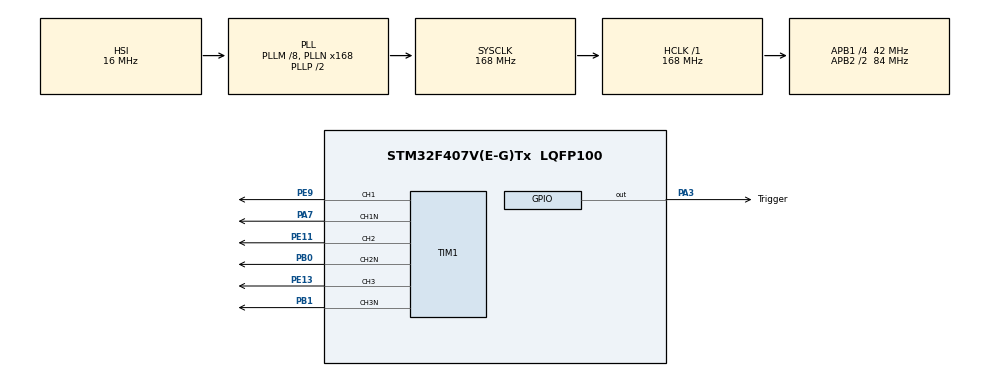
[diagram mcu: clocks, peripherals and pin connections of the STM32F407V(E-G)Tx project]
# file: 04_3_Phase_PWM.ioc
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Mcu.Family=STM32F4
Mcu.Name=STM32F407V(E-G)Tx
Mcu.Package=LQFP100
NVIC.PriorityGroup=NVIC_PRIORITYGROUP_0
NVIC.TIM1_CC_IRQn=true\:0\:2\:false\:false\:true\:true\:true\:true
PA3.GPIO_Label=Trigger
PA3.GPIO_PuPd=GPIO_NOPULL
PA3.GPIO_Speed=GPIO_SPEED_FREQ_MEDIUM
PA3.PinState=GPIO_PIN_RESET
PA3.Signal=GPIO_Output
PA7.Mode=PWM Generation1 CH1 CH1N
PA7.Signal=TIM1_CH1N
PB0.Mode=PWM Generation2 CH2 CH2N
PB0.Signal=TIM1_CH2N
PB1.Mode=PWM Generation3 CH3 CH3N
PB1.Signal=TIM1_CH3N
PE11.Signal=S_TIM1_CH2
PE13.Signal=S_TIM1_CH3
PE9.Signal=S_TIM1_CH1
ProjectManager.HeapSize=0x200
ProjectManager.StackSize=0x400
ProjectManager.TargetToolchain=MDK-ARM V5.32
RCC.48MHZClocksFreq_Value=48000000
RCC.AHBFreq_Value=168000000
RCC.APB1CLKDivider=RCC_HCLK_DIV4
RCC.APB1Freq_Value=42000000
RCC.APB1TimFreq_Value=84000000
RCC.APB2CLKDivider=RCC_HCLK_DIV2
RCC.APB2Freq_Value=84000000
RCC.APB2TimFreq_Value=168000000
RCC.CortexFreq_Value=168000000
RCC.HCLKFreq_Value=168000000
RCC.HSE_VALUE=8000000
RCC.HSI_VALUE=16000000
RCC.LSE_VALUE=32768
RCC.PLLM=8
RCC.PLLN=168
RCC.PLLQ=7
RCC.SYSCLKFreq_VALUE=168000000
RCC.SYSCLKSource=RCC_SYSCLKSOURCE_PLLCLK
RCC.VCOOutputFreq_Value=336000000
SH.S_TIM1_CH1.0=TIM1_CH1,PWM Generation1 CH1 CH1N
SH.S_TIM1_CH2.0=TIM1_CH2,PWM Generation2 CH2 CH2N
SH.S_TIM1_CH3.0=TIM1_CH3,PWM Generation3 CH3 CH3N
TIM1.AutoReloadPreload=TIM_AUTORELOAD_PRELOAD_ENABLE
TIM1.Channel-PWM\ Generation1\ CH1\ CH1N=TIM_CHANNEL_1
TIM1.Channel-PWM\ Generation2\ CH2\ CH2N=TIM_CHANNEL_2
TIM1.Channel-PWM\ Generation3\ CH3\ CH3N=TIM_CHANNEL_3
TIM1.Channel-PWM\ Generation4\ No\ Output=TIM_CHANNEL_4
TIM1.CounterMode=TIM_COUNTERMODE_CENTERALIGNED2
TIM1.DeadTime=dead_pulses
TIM1.Period=SystemCoreClock/(2*f_sw)
TIM1.Pulse-PWM\ Generation1\ CH1\ CH1N=0x4000
TIM1.Pulse-PWM\ Generation2\ CH2\ CH2N=0x8000
TIM1.Pulse-PWM\ Generation3\ CH3\ CH3N=0xC000
TIM1.RepetitionCounter=0
TIM1.TIM_MasterOutputTrigger=TIM_TRGO_RESET
TIM1.TIM_MasterSlaveMode=TIM_MASTERSLAVEMODE_DISABLE
VP_TIM1_VS_ClockSourceINT.Mode=Internal
VP_TIM1_VS_no_output4.Mode=PWM Generation4 No Output
board=STM32F407G-DISC1

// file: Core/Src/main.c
/* USER CODE BEGIN Header */
/**
  ******************************************************************************
  * @file           : main.c
  * @brief          : Main program body
  ******************************************************************************
  * @attention
  *
  * Copyright (c) 2024 STMicroelectronics.
  * All rights reserved.
  *
  * This software is licensed under terms that can be found in the LICENSE file
  * in the root directory of this software component.
  * If no LICENSE file comes with this software, it is provided AS-IS.
  *
  ******************************************************************************
  */
/* USER CODE END Header */
#include "main.h"

TIM_HandleTypeDef htim1;

void SystemClock_Config(void);
static void MX_GPIO_Init(void);
static void MX_TIM1_Init(void);

int main(void)
{

  /* MCU Configuration--------------------------------------------------------*/

  /* Reset of all peripherals, Initializes the Flash interface and the Systick. */
  HAL_Init();

  /* Configure the system clock */
  SystemClock_Config();

  /* Initialize all configured peripherals */
  MX_GPIO_Init();
  MX_TIM1_Init();
  /* USER CODE BEGIN 2 */

	//TIM1->DIER |= TIM_DIER_CC4IE;						//Enable Interrupt for Capture Compare Channel 4 - set to trigger in V0 (all low side switches on)

	HAL_TIM_PWM_Start(&htim1, TIM_CHANNEL_1);
	HAL_TIM_PWM_Start(&htim1, TIM_CHANNEL_2);
	HAL_TIM_PWM_Start(&htim1, TIM_CHANNEL_3);
	HAL_TIM_PWM_Start_IT(&htim1, TIM_CHANNEL_4);

	HAL_TIMEx_PWMN_Start(&htim1, TIM_CHANNEL_1);
	HAL_TIMEx_PWMN_Start(&htim1, TIM_CHANNEL_2);
	HAL_TIMEx_PWMN_Start(&htim1, TIM_CHANNEL_3);

	float angle = 0;
	float scale[3];
	float frequency = 0.01;
	float pi = 3.14159;
	int min_duty, max_duty;
	min_duty = 1;
	max_duty = 99;
	int counter_value = TIM1->ARR;
	int min_value = TIM1->ARR * min_duty / 100;
	int max_value = TIM1->ARR * max_duty / 100;
	int duty[3];

	TIM1->CCR4 = TIM1->ARR - (TIM1->BDTR & 0xFF);

  /* USER CODE END 2 */

  /* Infinite loop */
  while (1)
  {

    /* USER CODE BEGIN 3 */
		scale[0] = sinf(angle);
		scale[1] = sinf(angle+2*pi/3.0f);
		scale[2] = sinf(angle+4*pi/3.0f);

		for(int i=0; i<3; i++)
		{
			duty[i] = (int)((0.5f + 0.5f*scale[i]) * (float)(counter_value));
			if(duty[i] < min_value) duty[i]=min_value;
			if(duty[i] > max_value) duty[i]=max_value;
		}

		//TIM1->CCR1 = duty[0];
		//TIM1->CCR2 = duty[1];
		//TIM1->CCR3 = duty[2];
		TIM1->CCR1 = max_value;
		TIM1->CCR2 = max_value;
		TIM1->CCR3 = max_value;
		angle += frequency;
		if(angle > 2 * pi)
		{
			angle=0;
		}

		HAL_Delay(1);
  }
  /* USER CODE END 3 */
}

void SystemClock_Config(void)
{
  RCC_OscInitTypeDef RCC_OscInitStruct = {0};
  RCC_ClkInitTypeDef RCC_ClkInitStruct = {0};

  /** Configure the main internal regulator output voltage
  */
  __HAL_RCC_PWR_CLK_ENABLE();
  __HAL_PWR_VOLTAGESCALING_CONFIG(PWR_REGULATOR_VOLTAGE_SCALE1);

  /** Initializes the RCC Oscillators according to the specified parameters
  * in the RCC_OscInitTypeDef structure.
  */
  RCC_OscInitStruct.OscillatorType = RCC_OSCILLATORTYPE_HSI;
  RCC_OscInitStruct.HSIState = RCC_HSI_ON;
  RCC_OscInitStruct.HSICalibrationValue = RCC_HSICALIBRATION_DEFAULT;
  RCC_OscInitStruct.PLL.PLLState = RCC_PLL_ON;
  RCC_OscInitStruct.PLL.PLLSource = RCC_PLLSOURCE_HSI;
  RCC_OscInitStruct.PLL.PLLM = 8;
  RCC_OscInitStruct.PLL.PLLN = 168;
  RCC_OscInitStruct.PLL.PLLP = RCC_PLLP_DIV2;
  RCC_OscInitStruct.PLL.PLLQ = 7;
  if (HAL_RCC_OscConfig(&RCC_OscInitStruct) != HAL_OK)
  {
    Error_Handler();
  }

  /** Initializes the CPU, AHB and APB buses clocks
  */
  RCC_ClkInitStruct.ClockType = RCC_CLOCKTYPE_HCLK|RCC_CLOCKTYPE_SYSCLK
                              |RCC_CLOCKTYPE_PCLK1|RCC_CLOCKTYPE_PCLK2;
  RCC_ClkInitStruct.SYSCLKSource = RCC_SYSCLKSOURCE_PLLCLK;
  RCC_ClkInitStruct.AHBCLKDivider = RCC_SYSCLK_DIV1;
  RCC_ClkInitStruct.APB1CLKDivider = RCC_HCLK_DIV4;
  RCC_ClkInitStruct.APB2CLKDivider = RCC_HCLK_DIV2;

  if (HAL_RCC_ClockConfig(&RCC_ClkInitStruct, FLASH_LATENCY_5) != HAL_OK)
  {
    Error_Handler();
  }
}

static void MX_TIM1_Init(void)
{

  /* USER CODE BEGIN TIM1_Init 0 */

	int f_sw = 20000;
	int deadtime = 250;		//ns

	int dead_pulses = (SystemCoreClock/1000) * deadtime / 1000000;

  /* USER CODE END TIM1_Init 0 */

  TIM_ClockConfigTypeDef sClockSourceConfig = {0};
  TIM_MasterConfigTypeDef sMasterConfig = {0};
  TIM_OC_InitTypeDef sConfigOC = {0};
  TIM_BreakDeadTimeConfigTypeDef sBreakDeadTimeConfig = {0};

  /* USER CODE BEGIN TIM1_Init 1 */

	//htim1.Init.Period = SystemCoreClock/(2*f_sw);
  /* USER CODE END TIM1_Init 1 */
  htim1.Instance = TIM1;
  htim1.Init.Prescaler = 0;
  htim1.Init.CounterMode = TIM_COUNTERMODE_CENTERALIGNED2;
  htim1.Init.Period = SystemCoreClock/(2*f_sw);
  htim1.Init.ClockDivision = TIM_CLOCKDIVISION_DIV1;
  htim1.Init.RepetitionCounter = 0;
  htim1.Init.AutoReloadPreload = TIM_AUTORELOAD_PRELOAD_ENABLE;
  if (HAL_TIM_Base_Init(&htim1) != HAL_OK)
  {
    Error_Handler();
  }
  sClockSourceConfig.ClockSource = TIM_CLOCKSOURCE_INTERNAL;
  if (HAL_TIM_ConfigClockSource(&htim1, &sClockSourceConfig) != HAL_OK)
  {
    Error_Handler();
  }
  if (HAL_TIM_PWM_Init(&htim1) != HAL_OK)
  {
    Error_Handler();
  }
  sMasterConfig.MasterOutputTrigger = TIM_TRGO_RESET;
  sMasterConfig.MasterSlaveMode = TIM_MASTERSLAVEMODE_DISABLE;
  if (HAL_TIMEx_MasterConfigSynchronization(&htim1, &sMasterConfig) != HAL_OK)
  {
    Error_Handler();
  }
  sConfigOC.OCMode = TIM_OCMODE_PWM1;
  sConfigOC.Pulse = 0x4000;
  sConfigOC.OCPolarity = TIM_OCPOLARITY_HIGH;
  sConfigOC.OCNPolarity = TIM_OCNPOLARITY_HIGH;
  sConfigOC.OCFastMode = TIM_OCFAST_DISABLE;
  sConfigOC.OCIdleState = TIM_OCIDLESTATE_RESET;
  sConfigOC.OCNIdleState = TIM_OCNIDLESTATE_RESET;
  if (HAL_TIM_PWM_ConfigChannel(&htim1, &sConfigOC, TIM_CHANNEL_1) != HAL_OK)
  {
    Error_Handler();
  }
  sConfigOC.Pulse = 0x8000;
  if (HAL_TIM_PWM_ConfigChannel(&htim1, &sConfigOC, TIM_CHANNEL_2) != HAL_OK)
  {
    Error_Handler();
  }
  sConfigOC.Pulse = 0xC000;
  if (HAL_TIM_PWM_ConfigChannel(&htim1, &sConfigOC, TIM_CHANNEL_3) != HAL_OK)
  {
    Error_Handler();
  }
  sConfigOC.Pulse = 0;
  if (HAL_TIM_PWM_ConfigChannel(&htim1, &sConfigOC, TIM_CHANNEL_4) != HAL_OK)
  {
    Error_Handler();
  }
  sBreakDeadTimeConfig.OffStateRunMode = TIM_OSSR_DISABLE;
  sBreakDeadTimeConfig.OffStateIDLEMode = TIM_OSSI_DISABLE;
  sBreakDeadTimeConfig.LockLevel = TIM_LOCKLEVEL_OFF;
  sBreakDeadTimeConfig.DeadTime = dead_pulses;
  sBreakDeadTimeConfig.BreakState = TIM_BREAK_DISABLE;
  sBreakDeadTimeConfig.BreakPolarity = TIM_BREAKPOLARITY_HIGH;
  sBreakDeadTimeConfig.AutomaticOutput = TIM_AUTOMATICOUTPUT_DISABLE;
  if (HAL_TIMEx_ConfigBreakDeadTime(&htim1, &sBreakDeadTimeConfig) != HAL_OK)
  {
    Error_Handler();
  }
  HAL_TIM_MspPostInit(&htim1);

}

static void MX_GPIO_Init(void)
{
  GPIO_InitTypeDef GPIO_InitStruct = {0};

  /* GPIO Ports Clock Enable */
  __HAL_RCC_GPIOA_CLK_ENABLE();
  __HAL_RCC_GPIOB_CLK_ENABLE();
  __HAL_RCC_GPIOE_CLK_ENABLE();

  /*Configure GPIO pin Output Level */
  HAL_GPIO_WritePin(Trigger_GPIO_Port, Trigger_Pin, GPIO_PIN_RESET);

  /*Configure GPIO pin : Trigger_Pin */
  GPIO_InitStruct.Pin = Trigger_Pin;
  GPIO_InitStruct.Mode = GPIO_MODE_OUTPUT_PP;
  GPIO_InitStruct.Pull = GPIO_NOPULL;
  GPIO_InitStruct.Speed = GPIO_SPEED_FREQ_MEDIUM;
  HAL_GPIO_Init(Trigger_GPIO_Port, &GPIO_InitStruct);

}

void Error_Handler(void)
{
  __disable_irq();
  while (1)
  {
  }
}
